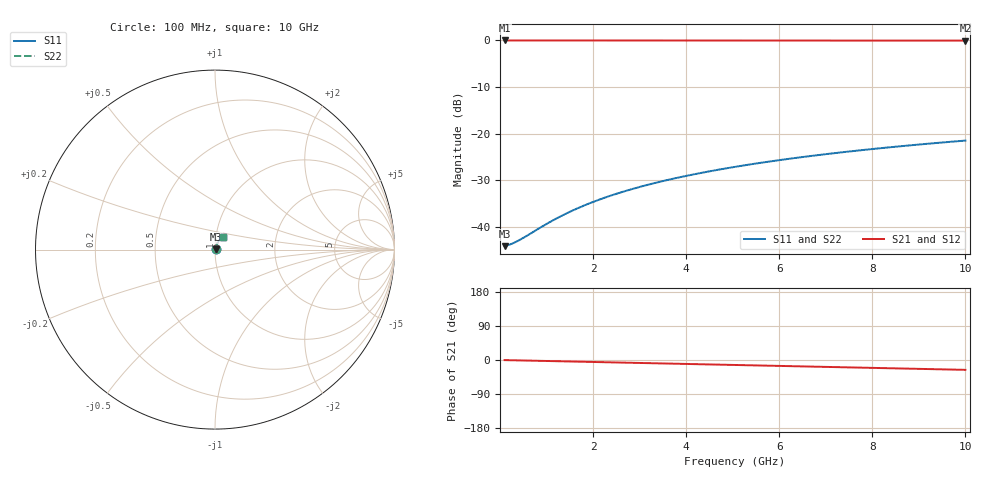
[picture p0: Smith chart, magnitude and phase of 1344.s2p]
# Hz S RI R 50.00
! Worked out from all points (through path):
!   100 points, 100 MHz to 10 GHz, reference 50 ohm
!   highest |S21| = -0.05 dB at 100 MHz (marker M1); lowest = -0.1 dB at 10 GHz (marker M2)
!   group delay of S21, straight-line fit = 7.22 ps
!   lowest |S11| = -44.1 dB at 100 MHz (marker M3), VSWR 1.01, Z = 50.6 + j0.0857 ohm
!   |S11| at or under -10 dB: start of sweep to end of sweep
!   |S22| runs from -44.1 to -21.5 dB; largest |S21 - S12| = 0
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1e8  0.00621 0.000846  0.9938 -0.00451  0.9938 -0.00451  0.00621 0.000846
2e8  0.00626 0.00169  0.9937 -0.00902  0.9937 -0.00902  0.00626 0.00169
3e8  0.00631 0.00254  0.9936 -0.0135  0.9936 -0.0135  0.00631 0.00254
4e8  0.00636 0.00338  0.9935 -0.018  0.9935 -0.018  0.00636 0.00338
1e9  0.00677 0.00844  0.9925 -0.0451  0.9925 -0.0451  0.00677 0.00844
1.2e9  0.00696 0.0101  0.992 -0.0541  0.992 -0.0541  0.00696 0.0101
1.5e9  0.0073 0.0126  0.9911 -0.0676  0.9911 -0.0676  0.0073 0.0126
1.8e9  0.00771 0.0151  0.99 -0.081  0.99 -0.081  0.00771 0.0151
2.1e9  0.00818 0.0176  0.9888 -0.0945  0.9888 -0.0945  0.00818 0.0176
2.5e9  0.00891 0.0209  0.9868 -0.1124  0.9868 -0.1124  0.00891 0.0209
2.9e9  0.00976 0.0242  0.9845 -0.1303  0.9845 -0.1303  0.00976 0.0242
3.4e9  0.011 0.0282  0.9811 -0.1526  0.9811 -0.1526  0.011 0.0282
3.8e9  0.0121 0.0314  0.978 -0.1703  0.978 -0.1703  0.0121 0.0314
4.2e9  0.0133 0.0345  0.9746 -0.188  0.9746 -0.188  0.0133 0.0345
4.6e9  0.0147 0.0376  0.9709 -0.2057  0.9709 -0.2057  0.0147 0.0376
5.1e9  0.0165 0.0414  0.9658 -0.2276  0.9658 -0.2276  0.0165 0.0414
5.9e9  0.0198 0.0473  0.9566 -0.2624  0.9566 -0.2624  0.0198 0.0473
6.7e9  0.0235 0.0529  0.946 -0.2968  0.946 -0.2968  0.0235 0.0529
7.5e9  0.0276 0.0583  0.9342 -0.3307  0.9342 -0.3307  0.0276 0.0583
8.4e9  0.0327 0.0639  0.9195 -0.3683  0.9195 -0.3683  0.0327 0.0639
9.2e9  0.0375 0.0685  0.905 -0.4012  0.905 -0.4012  0.0375 0.0685
1e10  0.0427 0.0728  0.8894 -0.4334  0.8894 -0.4334  0.0427 0.0728
